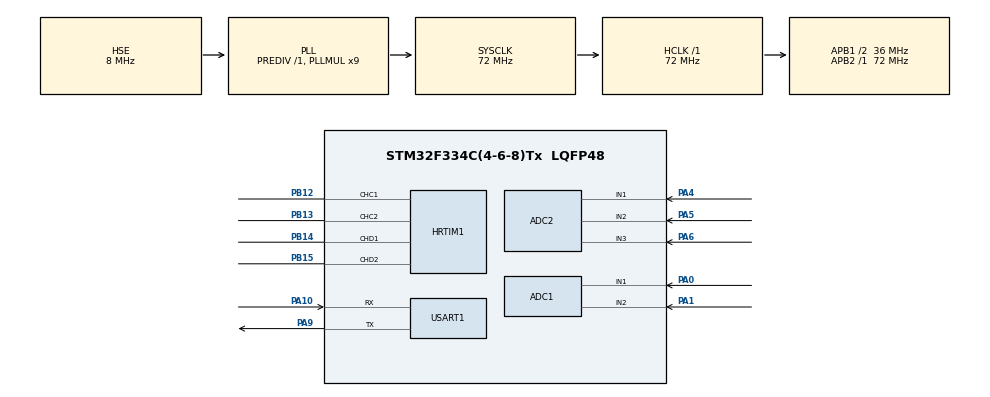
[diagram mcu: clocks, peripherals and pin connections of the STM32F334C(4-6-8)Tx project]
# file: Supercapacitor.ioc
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ADC1.Channel-3\#ChannelRegularConversion=ADC_CHANNEL_1
ADC1.Channel-4\#ChannelRegularConversion=ADC_CHANNEL_2
ADC1.ContinuousConvMode=ENABLE
ADC1.DMAContinuousRequests=DISABLE
ADC1.NbrOfConversion=2
ADC1.NbrOfConversionFlag=1
ADC1.Offset-3\#ChannelRegularConversion=0
ADC1.Offset-4\#ChannelRegularConversion=0
ADC1.OffsetNumber-3\#ChannelRegularConversion=ADC_OFFSET_NONE
ADC1.OffsetNumber-4\#ChannelRegularConversion=ADC_OFFSET_NONE
ADC1.Rank-3\#ChannelRegularConversion=1
ADC1.Rank-4\#ChannelRegularConversion=2
ADC1.SamplingTime-3\#ChannelRegularConversion=ADC_SAMPLETIME_1CYCLE_5
ADC1.SamplingTime-4\#ChannelRegularConversion=ADC_SAMPLETIME_1CYCLE_5
ADC1.SamplingTimeOPAMP-4\#ChannelRegularConversion=ADC_SAMPLETIME_7CYCLES_5
ADC1.SubFamily=STM32F334x8
ADC1.master=1
ADC2.Channel-1\#ChannelRegularConversion=ADC_CHANNEL_1
ADC2.Channel-2\#ChannelRegularConversion=ADC_CHANNEL_2
ADC2.Channel-3\#ChannelRegularConversion=ADC_CHANNEL_3
ADC2.ContinuousConvMode=ENABLE
ADC2.NbrOfConversion=3
ADC2.NbrOfConversionFlag=1
ADC2.Offset-1\#ChannelRegularConversion=0
ADC2.Offset-2\#ChannelRegularConversion=0
ADC2.Offset-3\#ChannelRegularConversion=0
ADC2.OffsetNumber-1\#ChannelRegularConversion=ADC_OFFSET_NONE
ADC2.OffsetNumber-2\#ChannelRegularConversion=ADC_OFFSET_NONE
ADC2.OffsetNumber-3\#ChannelRegularConversion=ADC_OFFSET_NONE
ADC2.Rank-1\#ChannelRegularConversion=1
ADC2.Rank-2\#ChannelRegularConversion=2
ADC2.Rank-3\#ChannelRegularConversion=3
ADC2.SamplingTime-1\#ChannelRegularConversion=ADC_SAMPLETIME_1CYCLE_5
ADC2.SamplingTime-2\#ChannelRegularConversion=ADC_SAMPLETIME_1CYCLE_5
ADC2.SamplingTime-3\#ChannelRegularConversion=ADC_SAMPLETIME_1CYCLE_5
ADC2.SamplingTimeOPAMP-2\#ChannelRegularConversion=ADC_SAMPLETIME_7CYCLES_5
ADC2.SamplingTimeOPAMP-3\#ChannelRegularConversion=ADC_SAMPLETIME_7CYCLES_5
ADC2.SubFamily=STM32F334x8
Dma.ADC1.1.Direction=DMA_PERIPH_TO_MEMORY
Dma.ADC1.1.Instance=DMA1_Channel1
Dma.ADC1.1.MemDataAlignment=DMA_MDATAALIGN_WORD
Dma.ADC1.1.MemInc=DMA_MINC_ENABLE
Dma.ADC1.1.Mode=DMA_CIRCULAR
Dma.ADC1.1.PeriphDataAlignment=DMA_PDATAALIGN_WORD
Dma.ADC1.1.PeriphInc=DMA_PINC_DISABLE
Dma.ADC1.1.Priority=DMA_PRIORITY_LOW
Dma.ADC2.0.Direction=DMA_PERIPH_TO_MEMORY
Dma.ADC2.0.Instance=DMA1_Channel2
Dma.ADC2.0.MemDataAlignment=DMA_MDATAALIGN_WORD
Dma.ADC2.0.MemInc=DMA_MINC_ENABLE
Dma.ADC2.0.Mode=DMA_CIRCULAR
Dma.ADC2.0.PeriphDataAlignment=DMA_PDATAALIGN_WORD
Dma.ADC2.0.PeriphInc=DMA_PINC_DISABLE
Dma.ADC2.0.Priority=DMA_PRIORITY_LOW
Dma.Request0=ADC2
Dma.Request1=ADC1
HRTIM1.CompareUnit1-Output_TC1TC2=HRTIM_COMPAREUNIT_1
HRTIM1.CompareUnit1-Output_TD1TD2=HRTIM_COMPAREUNIT_1
HRTIM1.CompareUnit2-Output_TC1TC2=HRTIM_COMPAREUNIT_2
HRTIM1.CompareUnit2-Output_TD1TD2=HRTIM_COMPAREUNIT_2
HRTIM1.CompareUnit3-Output_TC1TC2=__NULL
HRTIM1.CompareUnit4-Output_TC1TC2=__NULL
HRTIM1.CompareValue1-Output_TC1TC2=4608
HRTIM1.CompareValue1-Output_TD1TD2=4608
HRTIM1.CompareValue2-Output_TC1TC2=4608
HRTIM1.CompareValue2-Output_TD1TD2=4608
HRTIM1.CompareValue3-Output_TC1TC2=4608
HRTIM1.CompareValue4-Output_TC1TC2=4608
HRTIM1.DeadTimeInsertion-Output_TC1TC2=HRTIM_TIMDEADTIMEINSERTION_DISABLED
HRTIM1.DeadTimeInsertion-Output_TD1TD2=HRTIM_TIMDEADTIMEINSERTION_DISABLED
HRTIM1.NumberResetSource1-Output_TC1TC2=1
HRTIM1.NumberResetSource1-Output_TD1TD2=1
HRTIM1.NumberResetSource2_TC=1
HRTIM1.NumberResetSource2_TD=1
HRTIM1.NumberSetSource1-Output_TC1TC2=1
HRTIM1.NumberSetSource1-Output_TD1TD2=1
HRTIM1.NumberSetSource2_TC=1
HRTIM1.NumberSetSource2_TD=1
HRTIM1.Periode_MASTER=4608/5
HRTIM1.Periode_TC=9216
HRTIM1.Periode_TD=9216
HRTIM1.Polarity2-Output_TC1TC2=HRTIM_OUTPUTPOLARITY_LOW
HRTIM1.PreloadEnable-MasterTimer=HRTIM_PRELOAD_ENABLED
HRTIM1.PreloadEnable-Output_TC1TC2=HRTIM_PRELOAD_ENABLED
HRTIM1.PreloadEnable-Output_TD1TD2=HRTIM_PRELOAD_ENABLED
HRTIM1.RepetitionUpdate-MasterTimer=HRTIM_UPDATEONREPETITION_ENABLED
HRTIM1.RepetitionUpdate-Output_TC1TC2=HRTIM_UPDATEONREPETITION_ENABLED
HRTIM1.RepetitionUpdate-Output_TD1TD2=HRTIM_UPDATEONREPETITION_ENABLED
HRTIM1.ResetOutput1_Source1-Output_TC1TC2=HRTIM_OUTPUTRESET_TIMCMP1
HRTIM1.ResetOutput1_Source1-Output_TD1TD2=HRTIM_OUTPUTRESET_TIMCMP1
HRTIM1.ResetOutput2_Source1-Output_TC1TC2=HRTIM_OUTPUTRESET_TIMCMP2
HRTIM1.ResetOutput2_Source1-Output_TD1TD2=HRTIM_OUTPUTRESET_TIMCMP2
HRTIM1.SetOutput1_Source1-Output_TC1TC2=HRTIM_OUTPUTSET_MASTERPER
HRTIM1.SetOutput1_Source1-Output_TD1TD2=HRTIM_OUTPUTSET_MASTERPER
HRTIM1.SetOutput2_Source1-Output_TC1TC2=HRTIM_OUTPUTSET_MASTERPER
HRTIM1.SetOutput2_Source1-Output_TD1TD2=HRTIM_OUTPUTSET_MASTERPER
Mcu.Family=STM32F3
Mcu.Name=STM32F334C(4-6-8)Tx
Mcu.Package=LQFP48
NVIC.ADC1_2_IRQn=true\:0\:0\:true\:false\:true\:true\:true
NVIC.DMA1_Channel1_IRQn=true\:0\:0\:false\:false\:true\:false\:true
NVIC.DMA1_Channel2_IRQn=true\:0\:0\:false\:false\:true\:false\:true
NVIC.PriorityGroup=NVIC_PRIORITYGROUP_4
PA0.Mode=IN1-Single-Ended
PA0.Signal=ADC1_IN1
PA1.Mode=IN2-Single-Ended
PA1.Signal=ADC1_IN2
PA10.Mode=Asynchronous
PA10.Signal=USART1_RX
PA13.Mode=Serial_Wire
PA13.Signal=SYS_JTMS-SWDIO
PA14.Mode=Serial_Wire
PA14.Signal=SYS_JTCK-SWCLK
PA4.Mode=IN1-Single-Ended
PA4.Signal=ADC2_IN1
PA5.Mode=IN2-Single-Ended
PA5.Signal=ADC2_IN2
PA6.Mode=IN3-Single-Ended
PA6.Signal=ADC2_IN3
PA9.Mode=Asynchronous
PA9.Signal=USART1_TX
PB12.Mode=Output_TC1TC2
PB12.Signal=HRTIM1_CHC1
PB13.Mode=Output_TC1TC2
PB13.Signal=HRTIM1_CHC2
PB14.Mode=Output_TD1TD2
PB14.Signal=HRTIM1_CHD1
PB15.Mode=Output_TD1TD2
PB15.Signal=HRTIM1_CHD2
PF0\ /\ OSC_IN.Mode=HSE-External-Oscillator
PF0\ /\ OSC_IN.Signal=RCC_OSC_IN
PF1\ /\ OSC_OUT.Mode=HSE-External-Oscillator
PF1\ /\ OSC_OUT.Signal=RCC_OSC_OUT
ProjectManager.HeapSize=0x200
ProjectManager.StackSize=0x400
ProjectManager.TargetToolchain=MDK-ARM V5.32
RCC.ADC12PRES=RCC_ADC12PLLCLK_DIV6
RCC.AHBFreq_Value=72000000
RCC.APB1CLKDivider=RCC_HCLK_DIV2
RCC.APB1Freq_Value=36000000
RCC.APB1TimFreq_Value=72000000
RCC.APB2Freq_Value=72000000
RCC.APB2TimFreq_Value=72000000
RCC.CortexFreq_Value=72000000
RCC.HCLKFreq_Value=72000000
RCC.HRTIMSelection=RCC_HRTIM1CLK_PLLCLK
RCC.HSE_VALUE=8000000
RCC.HSI_VALUE=8000000
RCC.LSE_VALUE=32768
RCC.PLLMUL=RCC_PLL_MUL9
RCC.PLLSourceVirtual=RCC_PLLSOURCE_HSE
RCC.SYSCLKFreq_VALUE=72000000
RCC.SYSCLKSourceVirtual=RCC_SYSCLKSOURCE_PLLCLK
USART1.VirtualMode-Asynchronous=VM_ASYNC
VP_HRTIM1_VS_hrtimMasterTimerNoOutput.Mode=MasterTimer
board=custom

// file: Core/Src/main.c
/* USER CODE BEGIN Header */
/**
 ******************************************************************************
 * @file           : main.c
 * @brief          : Main program body
 ******************************************************************************
 * @attention
 *
 * <h2><center>&copy; Copyright (c) 2022 STMicroelectronics.
 * All rights reserved.</center></h2>
 *
 * This software component is licensed by ST under BSD 3-Clause license,
 * the "License"; You may not use this file except in compliance with the
 * License. You may obtain a copy of the License at:
 *                        opensource.org/licenses/BSD-3-Clause
 *
 ******************************************************************************
 */
/* USER CODE END Header */
#include "main.h"
#include "adc.h"
#include "dma.h"
#include "hrtim.h"
#include "hrtim.h"
#include "usart.h"
#include "gpio.h"

/* USER CODE BEGIN PV */
uint8_t Recv[4] = {0};
uint8_t flag = 0;
uint8_t x = 20;
/* USER CODE END PV */

void SystemClock_Config(void);

int main(void)
{

  /* MCU Configuration--------------------------------------------------------*/

  /* Reset of all peripherals, Initializes the Flash interface and the Systick. */
  HAL_Init();

  /* Configure the system clock */
  SystemClock_Config();

  /* Initialize all configured peripherals */
  MX_GPIO_Init();
  MX_DMA_Init();
  MX_USART1_UART_Init();
  MX_ADC2_Init();
  MX_ADC1_Init();
  MX_HRTIM1_Init();
  /* USER CODE BEGIN 2 */
  HAL_ADCEx_Calibration_Start(&hadc1, ADC_SINGLE_ENDED); // AD校准
  HAL_ADCEx_Calibration_Start(&hadc2, ADC_SINGLE_ENDED);
  HAL_ADC_Start_DMA(&hadc1, (uint32_t *)&AD1_DMA, 2);
  HAL_ADC_Start_DMA(&hadc2, (uint32_t *)&AD2_DMA, 3);
  ADC_Read();
  V_OUT = V_CAP + 1;
//	HAL_UART_Receive_IT(&huart1,(uint8_t *)Recv,4);
  /* USER CODE END 2 */

  /* Infinite loop */
  while (1)
  {

    /* USER CODE BEGIN 3 */
    //ADC_Read();
		Duty_Cycle[0] = HRTIM_TIMD_PERIOD * 0.10;
		Duty_Cycle[1] = 0;
		Duty_Cycle[2] = 0;
		Duty_Cycle[3] = 0;
//		if(flag == 1)
//		{
//			flag = 0;
//			Duty_Cycle[0] = HRTIM_TIMD_PERIOD  / 100.0* Recv[0];
//			Duty_Cycle[1] = HRTIM_TIMD_PERIOD / 100.0* Recv[1] ;
//			Duty_Cycle[2] = HRTIM_TIMD_PERIOD / 100.0 * Recv[2];
//			Duty_Cycle[3] = HRTIM_TIMD_PERIOD  / 100.0* Recv[3];
//			HAL_UART_Transmit(&huart1,(uint8_t *)Duty_Cycle,8,1000);
//		}
		PWM_Output(Duty_Cycle);
    HAL_Delay(1000);
  }
  /* USER CODE END 3 */
}

void SystemClock_Config(void)
{
  RCC_OscInitTypeDef RCC_OscInitStruct = {0};
  RCC_ClkInitTypeDef RCC_ClkInitStruct = {0};
  RCC_PeriphCLKInitTypeDef PeriphClkInit = {0};

  /** Initializes the RCC Oscillators according to the specified parameters
  * in the RCC_OscInitTypeDef structure.
  */
  RCC_OscInitStruct.OscillatorType = RCC_OSCILLATORTYPE_HSE;
  RCC_OscInitStruct.HSEState = RCC_HSE_ON;
  RCC_OscInitStruct.HSEPredivValue = RCC_HSE_PREDIV_DIV1;
  RCC_OscInitStruct.HSIState = RCC_HSI_ON;
  RCC_OscInitStruct.PLL.PLLState = RCC_PLL_ON;
  RCC_OscInitStruct.PLL.PLLSource = RCC_PLLSOURCE_HSE;
  RCC_OscInitStruct.PLL.PLLMUL = RCC_PLL_MUL9;
  if (HAL_RCC_OscConfig(&RCC_OscInitStruct) != HAL_OK)
  {
    Error_Handler();
  }
  /** Initializes the CPU, AHB and APB buses clocks
  */
  RCC_ClkInitStruct.ClockType = RCC_CLOCKTYPE_HCLK|RCC_CLOCKTYPE_SYSCLK
                              |RCC_CLOCKTYPE_PCLK1|RCC_CLOCKTYPE_PCLK2;
  RCC_ClkInitStruct.SYSCLKSource = RCC_SYSCLKSOURCE_PLLCLK;
  RCC_ClkInitStruct.AHBCLKDivider = RCC_SYSCLK_DIV1;
  RCC_ClkInitStruct.APB1CLKDivider = RCC_HCLK_DIV2;
  RCC_ClkInitStruct.APB2CLKDivider = RCC_HCLK_DIV1;

  if (HAL_RCC_ClockConfig(&RCC_ClkInitStruct, FLASH_LATENCY_2) != HAL_OK)
  {
    Error_Handler();
  }
  PeriphClkInit.PeriphClockSelection = RCC_PERIPHCLK_HRTIM1|RCC_PERIPHCLK_USART1
                              |RCC_PERIPHCLK_ADC12;
  PeriphClkInit.Usart1ClockSelection = RCC_USART1CLKSOURCE_PCLK1;
  PeriphClkInit.Adc12ClockSelection = RCC_ADC12PLLCLK_DIV6;
  PeriphClkInit.Hrtim1ClockSelection = RCC_HRTIM1CLK_PLLCLK;
  if (HAL_RCCEx_PeriphCLKConfig(&PeriphClkInit) != HAL_OK)
  {
    Error_Handler();
  }
}

/* USER CODE BEGIN 4 */
//int fputc(int ch, FILE *f)
//{
//  HAL_UART_Transmit(&huart1, (uint8_t *)&ch, 1, 0xFFFF);
//  return ch;
//}
//void HAL_UART_RxCpltCallback(UART_HandleTypeDef *huart)
//{
//		if(huart->Instance==USART1)
//		{
//			flag = 1;
//			HAL_UART_Receive_IT(&huart1,(uint8_t *)Recv,4);
//		}
//}
void GPIO_HRTIM_outputs_Config(void)
{
  GPIO_InitTypeDef GPIO_InitStruct;
  /* Enable GPIOB clock for timer C&D outputs */
  __HAL_RCC_GPIOB_CLK_ENABLE();
  GPIO_InitStruct.Pin = GPIO_PIN_12 | GPIO_PIN_13 | GPIO_PIN_14 | GPIO_PIN_15;
  GPIO_InitStruct.Mode = GPIO_MODE_AF_PP;
  GPIO_InitStruct.Pull = GPIO_NOPULL;
  ;
  GPIO_InitStruct.Speed = GPIO_SPEED_FREQ_HIGH;
  ;
  GPIO_InitStruct.Alternate = GPIO_AF13_HRTIM1;
  HAL_GPIO_Init(GPIOB, &GPIO_InitStruct);
}
/* USER CODE END 4 */

void Error_Handler(void)
{
  __disable_irq();
  while (1)
  {
  }
}

/************************ (C) COPYRIGHT STMicroelectronics *****END OF FILE****/
